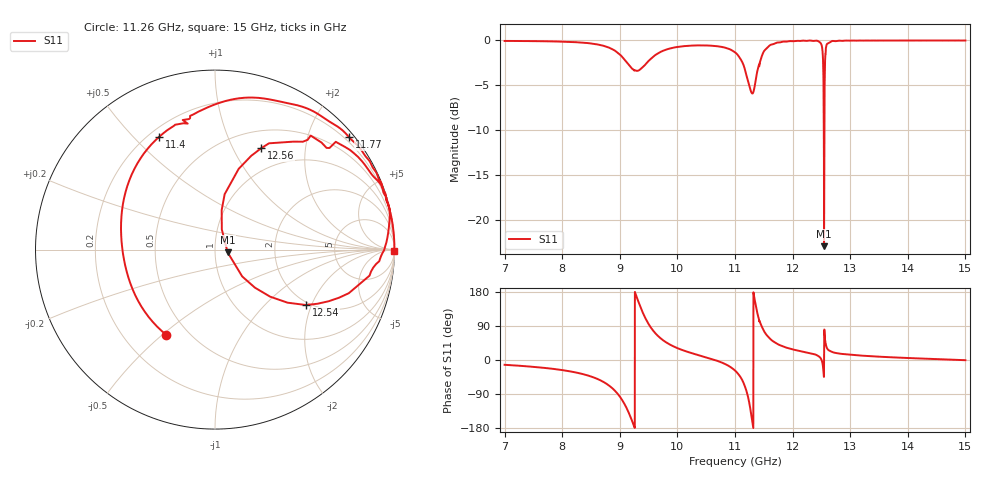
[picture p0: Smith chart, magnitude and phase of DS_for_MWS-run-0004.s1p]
! TOUCHSTONE file generated by CST DESIGN STUDIO
! Date and time: Mon Feb 10 16:57:09 2025
! Project name: C:\Work\MatlabApps\UnitCellType2OptimizationMatlab\CST\unitcell.cst
! Tree item: Tasks\Sweep1\SPara1\S-Parameters
! Header version: 2024
! Port assignment regex: !\s*Touchstone port\s*([0-9]+)\s*=\s*(CST MWS port|CST DES external port|CST DES block port)\s*(.+)\s* \(\"(.*)\"\)(\s*mode\s*([0-9]+))?.*
! Touchstone port assignment:
! Touchstone port 1 = CST DES external port 1 ("")
# GHz S MA R 50
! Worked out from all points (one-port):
!   4001 points, 7 GHz to 15 GHz, reference 50 ohm
!   lowest |S11| = -22.9 dB at 12.55 GHz (marker M1), VSWR 1.15, Z = 57.5 - j1.73 ohm
!   |S11| at or under -10 dB: 12.5418 GHz to 12.55205 GHz (10.25 MHz wide, 0.0817 % of centre)
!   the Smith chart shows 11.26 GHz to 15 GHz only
!   S11 on the Smith chart (normalised r, x): 11.26 GHz: 0.38, -0.51; 11.4 GHz: 0.24, +0.59; 11.77 GHz: 0.11, +2.74; 12.54 GHz: 1.91, -1.82; 12.56 GHz: 0.71, +1.30; 15 GHz: open
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7  0.9937 -12.7
8  0.9851 -26.6
8.632  0.9476 -51.4
9  0.8354 -96.4
9.122  0.7556 -128.1
9.25  0.6828 -175.4
9.476  0.7551 101.2
9.71  0.8644 57.1
10  0.92 31.3
10.614  0.9339 1.8
11  0.859 -27.7
11.168  0.6974 -68.0
11.256  0.547 -120.0
11.328  0.5288 171.3
11.4  0.7012 116.3
11.562  0.9111 63.6
11.766  0.9747 40.0
12  0.9906 27.9
12.466  0.9806 8.3
12.506  0.9333 -1.2
12.536  0.5936 -31.3
12.546  0.07178 -12.0
12.558  0.62 65.5
12.592  0.9504 32.8
12.652  0.9794 23.7
13  0.9972 13.9
14  0.9989 5.3
15  0.9995 -0.5
